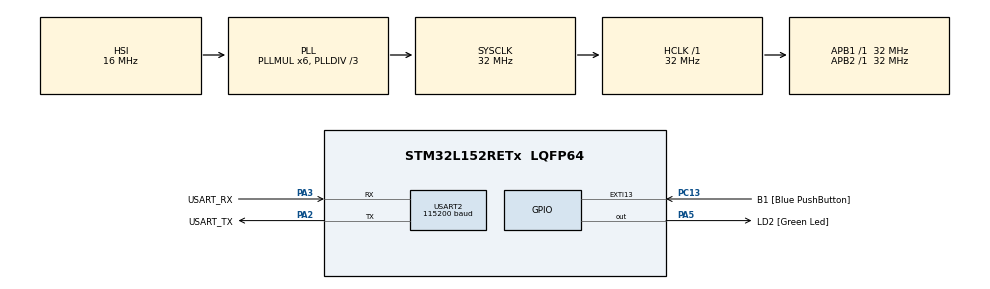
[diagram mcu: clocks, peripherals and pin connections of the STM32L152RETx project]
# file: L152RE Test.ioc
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Dma.Request0=USART2_RX
Dma.Request1=USART2_TX
Dma.USART2_RX.0.Direction=DMA_PERIPH_TO_MEMORY
Dma.USART2_RX.0.Instance=DMA1_Channel6
Dma.USART2_RX.0.MemDataAlignment=DMA_MDATAALIGN_BYTE
Dma.USART2_RX.0.MemInc=DMA_MINC_ENABLE
Dma.USART2_RX.0.Mode=DMA_CIRCULAR
Dma.USART2_RX.0.PeriphDataAlignment=DMA_PDATAALIGN_BYTE
Dma.USART2_RX.0.PeriphInc=DMA_PINC_DISABLE
Dma.USART2_RX.0.Priority=DMA_PRIORITY_LOW
Dma.USART2_TX.1.Direction=DMA_MEMORY_TO_PERIPH
Dma.USART2_TX.1.Instance=DMA1_Channel7
Dma.USART2_TX.1.MemDataAlignment=DMA_MDATAALIGN_BYTE
Dma.USART2_TX.1.MemInc=DMA_MINC_ENABLE
Dma.USART2_TX.1.Mode=DMA_NORMAL
Dma.USART2_TX.1.PeriphDataAlignment=DMA_PDATAALIGN_BYTE
Dma.USART2_TX.1.PeriphInc=DMA_PINC_DISABLE
Dma.USART2_TX.1.Priority=DMA_PRIORITY_LOW
Mcu.Family=STM32L1
Mcu.Name=STM32L152RETx
Mcu.Package=LQFP64
NVIC.DMA1_Channel6_IRQn=true\:0\:0\:false\:false\:true\:false\:true\:true
NVIC.DMA1_Channel7_IRQn=true\:0\:0\:false\:false\:true\:false\:true\:true
NVIC.PriorityGroup=NVIC_PRIORITYGROUP_0
NVIC.RTC_Alarm_IRQn=true\:0\:0\:false\:false\:true\:true\:true\:true
NVIC.USART2_IRQn=true\:0\:0\:false\:false\:true\:true\:true\:true
PA13.GPIO_Label=TMS
PA13.Mode=Serial_Wire
PA13.Signal=SYS_JTMS-SWDIO
PA14.GPIO_Label=TCK
PA14.Mode=Serial_Wire
PA14.Signal=SYS_JTCK-SWCLK
PA2.GPIO_Label=USART_TX
PA2.Mode=Asynchronous
PA2.Signal=USART2_TX
PA3.GPIO_Label=USART_RX
PA3.Mode=Asynchronous
PA3.Signal=USART2_RX
PA5.GPIO_Label=LD2 [Green Led]
PA5.Signal=GPIO_Output
PB3.GPIO_Label=SWO
PB3.Signal=SYS_JTDO-TRACESWO
PC13-WKUP2.GPIO_Label=B1 [Blue PushButton]
PC13-WKUP2.Signal=GPXTI13
PC14-OSC32_IN.Mode=LSE-External-Oscillator
PC14-OSC32_IN.Signal=RCC_OSC32_IN
PC15-OSC32_OUT.Mode=LSE-External-Oscillator
PC15-OSC32_OUT.Signal=RCC_OSC32_OUT
PH0-OSC_IN.Signal=RCC_OSC_IN
PH1-OSC_OUT.Signal=RCC_OSC_OUT
ProjectManager.HeapSize=0x200
ProjectManager.StackSize=0x400
ProjectManager.TargetToolchain=STM32CubeIDE
RCC.48MHZClocksFreq_Value=48000000
RCC.AHBFreq_Value=32000000
RCC.APB1Freq_Value=32000000
RCC.APB1TimFreq_Value=32000000
RCC.APB2Freq_Value=32000000
RCC.APB2TimFreq_Value=32000000
RCC.HCLKFreq_Value=32000000
RCC.HSE_VALUE=8000000
RCC.HSI_VALUE=16000000
RCC.MSI_VALUE=2097000
RCC.PLLDIV=RCC_PLL_DIV3
RCC.PLLMUL=RCC_PLL_MUL6
RCC.RTCClockSelectionVirtual=RCC_RTCCLKSOURCE_LSE
RCC.SYSCLKFreq_VALUE=32000000
RCC.SYSCLKSource=RCC_SYSCLKSOURCE_PLLCLK
RCC.USBOutput=48000000
RCC.VCOOutputFreq_Value=96000000
RTC.Alarm-Alarm\ A=RTC_ALARM_A
RTC.Format=RTC_FORMAT_BIN
RTC.Year=23
USART2.BaudRate=115200
USART2.VirtualMode=VM_ASYNC
VP_CRC_VS_CRC.Mode=CRC_Activate
VP_RTC_VS_RTC_Activate.Mode=RTC_Enabled
VP_RTC_VS_RTC_Alarm_A_Intern.Mode=Alarm A
VP_RTC_VS_RTC_Calendar.Mode=RTC_Calendar
board=NUCLEO-L152RE

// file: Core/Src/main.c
/* USER CODE BEGIN Header */
/**
  ******************************************************************************
  * @file           : main.c
  * @brief          : Main program body
  ******************************************************************************
  * @attention
  *
  * Copyright (c) 2022 STMicroelectronics.
  * All rights reserved.
  *
  * This software is licensed under terms that can be found in the LICENSE file
  * in the root directory of this software component.
  * If no LICENSE file comes with this software, it is provided AS-IS.
  *
  ******************************************************************************
  */
/* USER CODE END Header */
#include "main.h"

CRC_HandleTypeDef hcrc;

RTC_HandleTypeDef hrtc;

UART_HandleTypeDef huart2;
DMA_HandleTypeDef hdma_usart2_rx;
DMA_HandleTypeDef hdma_usart2_tx;

void SystemClock_Config(void);
static void MX_GPIO_Init(void);
static void MX_DMA_Init(void);
static void MX_USART2_UART_Init(void);
static void MX_CRC_Init(void);
static void MX_RTC_Init(void);
/* USER CODE BEGIN PFP */
#define PUTCHAR_PROTOTYPE int __io_putchar(int ch)

/* USER CODE END PFP */

int main(void)
{

  /* MCU Configuration--------------------------------------------------------*/

  /* Reset of all peripherals, Initializes the Flash interface and the Systick. */
  HAL_Init();

  /* Configure the system clock */
  SystemClock_Config();

  /* Initialize all configured peripherals */
  MX_GPIO_Init();
  MX_DMA_Init();
  MX_USART2_UART_Init();
  MX_CRC_Init();
  MX_RTC_Init();
  /* USER CODE BEGIN 2 */
  SettingsInit(&hcrc);

  Init_Terminal(&huart2);
  SettingsCommands_Init();
  Rtc_Init();

  /* USER CODE END 2 */

  /* Infinite loop */
  /* USER CODE BEGIN WHILE */
  while (1)
  {
		// Toggle the LED
		HAL_GPIO_TogglePin(GPIOA, GPIO_PIN_5);

		CLI_Execute();
		if (alarmState.alarmFlag)
		{
			alarmState.alarmFlag = false;
			CLI_Printf("\r\nAlarm!");
			Rtc_GetDateTime();
			CLI_Printf("\r\nTimestamp: %02d-%02d-%02d %s %02d:%02d:%02d",
					dateRtc.Date, dateRtc.Month, dateRtc.Date, WeekdayNames[dateRtc.WeekDay],
					timeRtc.Hours, timeRtc.Minutes, timeRtc.Seconds)
			Rtc_SetAlarm();
		}
		Execute_Terminal();
		HAL_PWR_EnterSLEEPMode(PWR_MAINREGULATOR_ON, PWR_SLEEPENTRY_WFI);
    /* USER CODE END WHILE */

  }
}

void SystemClock_Config(void)
{
  RCC_OscInitTypeDef RCC_OscInitStruct = {0};
  RCC_ClkInitTypeDef RCC_ClkInitStruct = {0};
  RCC_PeriphCLKInitTypeDef PeriphClkInit = {0};

  /** Configure the main internal regulator output voltage
  */
  __HAL_PWR_VOLTAGESCALING_CONFIG(PWR_REGULATOR_VOLTAGE_SCALE1);

  /** Initializes the RCC Oscillators according to the specified parameters
  * in the RCC_OscInitTypeDef structure.
  */
  RCC_OscInitStruct.OscillatorType = RCC_OSCILLATORTYPE_HSI|RCC_OSCILLATORTYPE_LSE;
  RCC_OscInitStruct.LSEState = RCC_LSE_ON;
  RCC_OscInitStruct.HSIState = RCC_HSI_ON;
  RCC_OscInitStruct.HSICalibrationValue = RCC_HSICALIBRATION_DEFAULT;
  RCC_OscInitStruct.PLL.PLLState = RCC_PLL_ON;
  RCC_OscInitStruct.PLL.PLLSource = RCC_PLLSOURCE_HSI;
  RCC_OscInitStruct.PLL.PLLMUL = RCC_PLL_MUL6;
  RCC_OscInitStruct.PLL.PLLDIV = RCC_PLL_DIV3;
  if (HAL_RCC_OscConfig(&RCC_OscInitStruct) != HAL_OK)
  {
    Error_Handler();
  }

  /** Initializes the CPU, AHB and APB buses clocks
  */
  RCC_ClkInitStruct.ClockType = RCC_CLOCKTYPE_HCLK|RCC_CLOCKTYPE_SYSCLK
                              |RCC_CLOCKTYPE_PCLK1|RCC_CLOCKTYPE_PCLK2;
  RCC_ClkInitStruct.SYSCLKSource = RCC_SYSCLKSOURCE_PLLCLK;
  RCC_ClkInitStruct.AHBCLKDivider = RCC_SYSCLK_DIV1;
  RCC_ClkInitStruct.APB1CLKDivider = RCC_HCLK_DIV1;
  RCC_ClkInitStruct.APB2CLKDivider = RCC_HCLK_DIV1;

  if (HAL_RCC_ClockConfig(&RCC_ClkInitStruct, FLASH_LATENCY_1) != HAL_OK)
  {
    Error_Handler();
  }
  PeriphClkInit.PeriphClockSelection = RCC_PERIPHCLK_RTC;
  PeriphClkInit.RTCClockSelection = RCC_RTCCLKSOURCE_LSE;
  if (HAL_RCCEx_PeriphCLKConfig(&PeriphClkInit) != HAL_OK)
  {
    Error_Handler();
  }
}

static void MX_CRC_Init(void)
{

  hcrc.Instance = CRC;
  if (HAL_CRC_Init(&hcrc) != HAL_OK)
  {
    Error_Handler();
  }

}

static void MX_RTC_Init(void)
{

  RTC_TimeTypeDef sTime = {0};
  RTC_DateTypeDef sDate = {0};
  RTC_AlarmTypeDef sAlarm = {0};

  /** Initialize RTC Only
  */
  hrtc.Instance = RTC;
  hrtc.Init.HourFormat = RTC_HOURFORMAT_24;
  hrtc.Init.AsynchPrediv = 127;
  hrtc.Init.SynchPrediv = 255;
  hrtc.Init.OutPut = RTC_OUTPUT_DISABLE;
  hrtc.Init.OutPutPolarity = RTC_OUTPUT_POLARITY_HIGH;
  hrtc.Init.OutPutType = RTC_OUTPUT_TYPE_OPENDRAIN;
  if (HAL_RTC_Init(&hrtc) != HAL_OK)
  {
    Error_Handler();
  }

  /** Initialize RTC and set the Time and Date
  */
  sTime.Hours = 0;
  sTime.Minutes = 0;
  sTime.Seconds = 0;
  sTime.DayLightSaving = RTC_DAYLIGHTSAVING_NONE;
  sTime.StoreOperation = RTC_STOREOPERATION_RESET;
  if (HAL_RTC_SetTime(&hrtc, &sTime, RTC_FORMAT_BIN) != HAL_OK)
  {
    Error_Handler();
  }
  sDate.WeekDay = RTC_WEEKDAY_MONDAY;
  sDate.Month = RTC_MONTH_JANUARY;
  sDate.Date = 1;
  sDate.Year = 23;

  if (HAL_RTC_SetDate(&hrtc, &sDate, RTC_FORMAT_BIN) != HAL_OK)
  {
    Error_Handler();
  }

  /** Enable the Alarm A
  */
  sAlarm.AlarmTime.Hours = 0;
  sAlarm.AlarmTime.Minutes = 0;
  sAlarm.AlarmTime.Seconds = 0;
  sAlarm.AlarmTime.SubSeconds = 0;
  sAlarm.AlarmTime.DayLightSaving = RTC_DAYLIGHTSAVING_NONE;
  sAlarm.AlarmTime.StoreOperation = RTC_STOREOPERATION_RESET;
  sAlarm.AlarmMask = RTC_ALARMMASK_NONE;
  sAlarm.AlarmSubSecondMask = RTC_ALARMSUBSECONDMASK_ALL;
  sAlarm.AlarmDateWeekDaySel = RTC_ALARMDATEWEEKDAYSEL_DATE;
  sAlarm.AlarmDateWeekDay = 1;
  sAlarm.Alarm = RTC_ALARM_A;
  if (HAL_RTC_SetAlarm_IT(&hrtc, &sAlarm, RTC_FORMAT_BIN) != HAL_OK)
  {
    Error_Handler();
  }

}

static void MX_USART2_UART_Init(void)
{

  huart2.Instance = USART2;
  huart2.Init.BaudRate = 115200;
  huart2.Init.WordLength = UART_WORDLENGTH_8B;
  huart2.Init.StopBits = UART_STOPBITS_1;
  huart2.Init.Parity = UART_PARITY_NONE;
  huart2.Init.Mode = UART_MODE_TX_RX;
  huart2.Init.HwFlowCtl = UART_HWCONTROL_NONE;
  huart2.Init.OverSampling = UART_OVERSAMPLING_16;
  if (HAL_UART_Init(&huart2) != HAL_OK)
  {
    Error_Handler();
  }

}

static void MX_DMA_Init(void)
{

  /* DMA controller clock enable */
  __HAL_RCC_DMA1_CLK_ENABLE();

  /* DMA interrupt init */
  /* DMA1_Channel6_IRQn interrupt configuration */
  HAL_NVIC_SetPriority(DMA1_Channel6_IRQn, 0, 0);
  HAL_NVIC_EnableIRQ(DMA1_Channel6_IRQn);
  /* DMA1_Channel7_IRQn interrupt configuration */
  HAL_NVIC_SetPriority(DMA1_Channel7_IRQn, 0, 0);
  HAL_NVIC_EnableIRQ(DMA1_Channel7_IRQn);

}

static void MX_GPIO_Init(void)
{
  GPIO_InitTypeDef GPIO_InitStruct = {0};

  /* GPIO Ports Clock Enable */
  __HAL_RCC_GPIOC_CLK_ENABLE();
  __HAL_RCC_GPIOH_CLK_ENABLE();
  __HAL_RCC_GPIOA_CLK_ENABLE();
  __HAL_RCC_GPIOB_CLK_ENABLE();

  /*Configure GPIO pin Output Level */
  HAL_GPIO_WritePin(LD2_GPIO_Port, LD2_Pin, GPIO_PIN_RESET);

  /*Configure GPIO pin : B1_Pin */
  GPIO_InitStruct.Pin = B1_Pin;
  GPIO_InitStruct.Mode = GPIO_MODE_IT_RISING;
  GPIO_InitStruct.Pull = GPIO_NOPULL;
  HAL_GPIO_Init(B1_GPIO_Port, &GPIO_InitStruct);

  /*Configure GPIO pin : LD2_Pin */
  GPIO_InitStruct.Pin = LD2_Pin;
  GPIO_InitStruct.Mode = GPIO_MODE_OUTPUT_PP;
  GPIO_InitStruct.Pull = GPIO_NOPULL;
  GPIO_InitStruct.Speed = GPIO_SPEED_FREQ_LOW;
  HAL_GPIO_Init(LD2_GPIO_Port, &GPIO_InitStruct);

}

void Error_Handler(void)
{
  __disable_irq();
  while (1)
  {
  }
}
